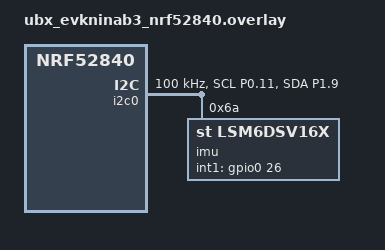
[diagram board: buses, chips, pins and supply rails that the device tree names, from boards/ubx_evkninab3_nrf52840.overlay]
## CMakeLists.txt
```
cmake_minimum_required(VERSION 3.20.0)

find_package(Zephyr REQUIRED HINTS $ENV{ZEPHYR_BASE})
project(magic_wand_nina_b302 LANGUAGES C)

target_sources(app PRIVATE
    src/main.c
    ../../src/mw_gesture.c
    ../../src/mw_gesture_event_v2.c
    ../../src/mw_target_math.c
)
target_include_directories(app PRIVATE ../../include)
target_compile_features(app PRIVATE c_std_11)
target_compile_options(app PRIVATE
    -Wall
    -Wextra
    -Werror
    -Wpedantic
    -Wconversion
    -Wshadow
)
```

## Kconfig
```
mainmenu "Magic Wand NINA-B302 target"

source "Kconfig.zephyr"

menu "Magic Wand target release gates"

config MW_AXIS_MAP_APPROVED
	bool "Enable drawing-derived sensor-to-wand axis map"
	default n
	help
	  Keep this disabled until a signed six-face accelerometer and positive-axis
	  gyroscope HIL record approves the mapping on assembled hardware. The target
	  intentionally refuses to classify gestures while this gate is disabled.

config MW_C08_005_ACTUATOR_APPROVED
	bool "Enable the C08-005 LRA candidate"
	default n
	help
	  Keep this disabled until the exact mounted C08-005 sample has passed
	  resonance, current, thermal, acoustic and mechanical-clearance validation.
	  Enabling the DRV2605 node without this gate produces a build-time failure.

endmenu
```

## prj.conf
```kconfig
# Target baseline: nRF Connect SDK v3.4.0 / Zephyr v4.4.0.
CONFIG_GPIO=y
CONFIG_I2C=y
CONFIG_SENSOR=y
CONFIG_LSM6DSV16X=y
CONFIG_LSM6DSV16X_TRIGGER_GLOBAL_THREAD=y
CONFIG_WATCHDOG=y
CONFIG_FPU=y

CONFIG_LOG=y
CONFIG_LOG_DEFAULT_LEVEL=3
CONFIG_CONSOLE=y
CONFIG_USE_SEGGER_RTT=y
CONFIG_RTT_CONSOLE=y
CONFIG_UART_CONSOLE=n
CONFIG_SERIAL=n

CONFIG_ASSERT=y
CONFIG_STACK_SENTINEL=y
CONFIG_MAIN_STACK_SIZE=4096
CONFIG_SYSTEM_WORKQUEUE_STACK_SIZE=2048

# Radio/security integration is intentionally outside this hardware target
# gate. The weak secure-event sink fails closed with -ENOTSUP.
CONFIG_BT=n
CONFIG_IEEE802154=n
CONFIG_USB_DEVICE_STACK=n
CONFIG_MCUMGR=n

# Release gates are fail-closed by default.
CONFIG_MW_AXIS_MAP_APPROVED=n
CONFIG_MW_C08_005_ACTUATOR_APPROVED=n
```

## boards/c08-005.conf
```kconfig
# Optional exact-actuator candidate. Use only with boards/c08-005.overlay.
CONFIG_HAPTICS=y
CONFIG_HAPTICS_DRV2605=y
CONFIG_MW_C08_005_ACTUATOR_APPROVED=y
```

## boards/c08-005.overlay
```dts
/*
 * Optional Precision Microdrives C08-005 LRA candidate.
 * The base target keeps the DRV2605 disabled. Pair this overlay with
 * c08-005.conf; main.c then enforces the approval and 1.85 V clamps at build
 * time. This is still not permission to manufacture without mounted-unit HIL.
 */
&haptic {
	status = "okay";
};
```

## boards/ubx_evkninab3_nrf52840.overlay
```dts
#include <zephyr/dt-bindings/gpio/gpio.h>
#include <zephyr/dt-bindings/i2c/i2c.h>
#include <zephyr/dt-bindings/pinctrl/nrf-pinctrl.h>
#include <zephyr/dt-bindings/sensor/lsm6dsv16x.h>

/*
 * The maintained EVK NINA-B3 board supplies the nRF52840/NINA-B302 clocks and
 * memory definition. Everything EVK-specific that conflicts with the custom
 * wand is disabled below before the factory-design pin authority is applied.
 */

/ {
	chosen {
		/delete-property/ zephyr,console;
		/delete-property/ zephyr,shell-uart;
		/delete-property/ zephyr,uart-mcumgr;
		/delete-property/ zephyr,bt-mon-uart;
		/delete-property/ zephyr,bt-c2h-uart;
		/delete-property/ zephyr,ieee802154;
	};

	aliases {
		mw-arm = &mw_arm_n;
		mw-chg-stat1 = &mw_chg_stat1_n;
		mw-chg-stat2 = &mw_chg_stat2_n;
		mw-imu = &imu;
		mw-haptic = &haptic;
	};

	mw-inputs {
		mw_arm_n: arm-n {
			gpios = <&gpio0 6 GPIO_ACTIVE_LOW>;
		};

		mw_chg_stat1_n: charge-status-1-n {
			gpios = <&gpio0 24 GPIO_ACTIVE_LOW>;
		};

		mw_chg_stat2_n: charge-status-2-n {
			gpios = <&gpio0 25 GPIO_ACTIVE_LOW>;
		};
	};
};

/* EVK-only LEDs/buttons claim wand P0.13 and P0.25. */
&led0 { status = "disabled"; };
&led1 { status = "disabled"; };
&led2 { status = "disabled"; };
&red_pwm_led { status = "disabled"; };
&green_pwm_led { status = "disabled"; };
&blue_pwm_led { status = "disabled"; };
&button0 { status = "disabled"; };
&button1 { status = "disabled"; };

&uart0 { status = "disabled"; };
&spi1 { status = "disabled"; };
&pwm0 { status = "disabled"; };
&adc { status = "disabled"; };
&ieee802154 { status = "disabled"; };
&usbd { status = "disabled"; };

&pinctrl {
	mw_i2c0_default: mw_i2c0_default {
		group1 {
			psels = <NRF_PSEL(TWIM_SCL, 0, 11)>,
				<NRF_PSEL(TWIM_SDA, 1, 9)>;
		};
	};

	mw_i2c0_sleep: mw_i2c0_sleep {
		group1 {
			psels = <NRF_PSEL(TWIM_SCL, 0, 11)>,
				<NRF_PSEL(TWIM_SDA, 1, 9)>;
			low-power-enable;
		};
	};
};

&i2c0 {
	compatible = "nordic,nrf-twim";
	status = "okay";
	clock-frequency = <I2C_BITRATE_STANDARD>;
	pinctrl-0 = <&mw_i2c0_default>;
	pinctrl-1 = <&mw_i2c0_sleep>;
	pinctrl-names = "default", "sleep";

	imu: lsm6dsv16x@6a {
		compatible = "st,lsm6dsv16x";
		reg = <0x6a>;
		status = "okay";
		int1-gpios = <&gpio0 26 GPIO_ACTIVE_HIGH>;
		drdy-pin = <1>;
		drdy-pulsed;
		accel-range = <LSM6DSV16X_DT_FS_4G>;
		gyro-range = <LSM6DSV16X_DT_FS_2000DPS>;
		accel-odr = <LSM6DSVXXX_DT_ODR_AT_240Hz>;
		gyro-odr = <LSM6DSVXXX_DT_ODR_AT_240Hz>;
	};

	haptic: drv2605@5a {
		compatible = "ti,drv2605";
		reg = <0x5a>;
		status = "disabled";
		actuator-mode = "LRA";
		vib-rated-mv = <1850>;
		vib-overdrive-mv = <1850>;
		en-gpios = <&gpio0 13 GPIO_ACTIVE_HIGH>;
	};
};
```

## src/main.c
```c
#include "mw_board_pins.h"
#include "mw_gesture.h"
#include "mw_gesture_event_v2.h"
#include "mw_target_math.h"

#include <errno.h>
#include <stdbool.h>
#include <stdint.h>

#include <zephyr/device.h>
#include <zephyr/devicetree.h>
#include <zephyr/drivers/gpio.h>
#include <zephyr/drivers/haptics.h>
#include <zephyr/drivers/haptics/drv2605.h>
#include <zephyr/drivers/sensor.h>
#include <zephyr/drivers/watchdog.h>
#include <zephyr/kernel.h>
#include <zephyr/logging/log.h>
#include <zephyr/sys/util.h>

LOG_MODULE_REGISTER(magic_wand_target, LOG_LEVEL_INF);

#define MW_GYRO_CALIBRATION_SAMPLES UINT16_C(480)
#define MW_WATCHDOG_TIMEOUT_MS UINT32_C(1000)

#define MW_ARM_NODE DT_ALIAS(mw_arm)
#define MW_CHG_STAT1_NODE DT_ALIAS(mw_chg_stat1)
#define MW_CHG_STAT2_NODE DT_ALIAS(mw_chg_stat2)
#define MW_IMU_NODE DT_ALIAS(mw_imu)
#define MW_HAPTIC_NODE DT_ALIAS(mw_haptic)

BUILD_ASSERT(DT_SAME_NODE(DT_GPIO_CTLR(MW_ARM_NODE, gpios), DT_NODELABEL(gpio0)));
BUILD_ASSERT(DT_GPIO_PIN(MW_ARM_NODE, gpios) == MW_ARM_N_GPIO_PIN);
BUILD_ASSERT(DT_SAME_NODE(DT_GPIO_CTLR(MW_CHG_STAT1_NODE, gpios), DT_NODELABEL(gpio0)));
BUILD_ASSERT(DT_GPIO_PIN(MW_CHG_STAT1_NODE, gpios) == MW_CHG_STAT1_N_GPIO_PIN);
BUILD_ASSERT(DT_SAME_NODE(DT_GPIO_CTLR(MW_CHG_STAT2_NODE, gpios), DT_NODELABEL(gpio0)));
BUILD_ASSERT(DT_GPIO_PIN(MW_CHG_STAT2_NODE, gpios) == MW_CHG_STAT2_N_GPIO_PIN);
BUILD_ASSERT(DT_SAME_NODE(DT_GPIO_CTLR(MW_IMU_NODE, int1_gpios), DT_NODELABEL(gpio0)));
BUILD_ASSERT(DT_GPIO_PIN(MW_IMU_NODE, int1_gpios) == MW_IMU_INT1_GPIO_PIN);

static const struct gpio_dt_spec arm_input = GPIO_DT_SPEC_GET(MW_ARM_NODE, gpios);
static const struct gpio_dt_spec chg_stat1_input = GPIO_DT_SPEC_GET(MW_CHG_STAT1_NODE, gpios);
static const struct gpio_dt_spec chg_stat2_input = GPIO_DT_SPEC_GET(MW_CHG_STAT2_NODE, gpios);
static const struct device *const imu = DEVICE_DT_GET(MW_IMU_NODE);
static const struct device *const watchdog = DEVICE_DT_GET(DT_ALIAS(watchdog0));

K_SEM_DEFINE(imu_data_ready, 0, 1);

/*
 * A security/radio integration must provide a strong implementation that
 * queues exactly this versioned event inside the authenticated protocol path.
 * The hardware target deliberately has no raw BLE/802.15.4 fallback.
 */
__weak int mw_target_get_authenticated_identity(
    uint32_t *device_id,
    uint32_t *session_id,
    uint8_t *logical_channel)
{
    if (device_id != NULL) {
        *device_id = 0U;
    }
    if (session_id != NULL) {
        *session_id = 0U;
    }
    if (logical_channel != NULL) {
        *logical_channel = MW_LOGICAL_CHANNEL_COUNT;
    }
    return -ENOTSUP;
}

__weak int mw_target_read_battery_percent(uint8_t *battery_percent)
{
    if (battery_percent != NULL) {
        *battery_percent = MW_BATTERY_PERCENT_UNKNOWN;
    }
    return -ENOTSUP;
}

__weak int mw_target_secure_queue_gesture_event_v2(
    const uint8_t payload[MW_GESTURE_EVENT_V2_BYTES])
{
    ARG_UNUSED(payload);
    return -ENOTSUP;
}

static void imu_trigger_handler(
    const struct device *device,
    const struct sensor_trigger *trigger)
{
    ARG_UNUSED(device);
    ARG_UNUSED(trigger);
    k_sem_give(&imu_data_ready);
}

static int configure_input(const struct gpio_dt_spec *input)
{
    if (!gpio_is_ready_dt(input)) {
        return -ENODEV;
    }
    return gpio_pin_configure_dt(input, GPIO_INPUT);
}

static int read_input(const struct gpio_dt_spec *input, bool *active)
{
    const int value = gpio_pin_get_dt(input);

    if (value < 0) {
        return value;
    }
    *active = value != 0;
    return 0;
}

static int configure_watchdog(void)
{
    const struct wdt_timeout_cfg timeout = {
        .window = {
            .min = 0U,
            .max = MW_WATCHDOG_TIMEOUT_MS,
        },
        .callback = NULL,
        .flags = WDT_FLAG_RESET_SOC,
    };
    int channel;
    int result;

    if (!device_is_ready(watchdog)) {
        return -ENODEV;
    }
    channel = wdt_install_timeout(watchdog, &timeout);
    if (channel < 0) {
        return channel;
    }
    result = wdt_setup(watchdog, WDT_OPT_PAUSE_HALTED_BY_DBG);
    if (result < 0) {
        return result;
    }
    return channel;
}

static int fetch_imu(float accel_mps2[3], float gyro_rad_s[3])
{
    struct sensor_value accel[3];
    struct sensor_value gyro[3];
    size_t axis;
    int result;

    result = sensor_sample_fetch(imu);
    if (result < 0) {
        return result;
    }
    result = sensor_channel_get(imu, SENSOR_CHAN_ACCEL_XYZ, accel);
    if (result < 0) {
        return result;
    }
    result = sensor_channel_get(imu, SENSOR_CHAN_GYRO_XYZ, gyro);
    if (result < 0) {
        return result;
    }
    for (axis = 0U; axis < 3U; ++axis) {
        accel_mps2[axis] = (float)sensor_value_to_double(&accel[axis]);
        gyro_rad_s[axis] = (float)sensor_value_to_double(&gyro[axis]);
    }
    return 0;
}

static bool stationary_for_gyro_calibration(
    const float accel_mps2[3],
    const float gyro_rad_s[3])
{
    const float gravity_squared =
        MW_STANDARD_GRAVITY_MPS2 * MW_STANDARD_GRAVITY_MPS2;
    const float accel_squared =
        (accel_mps2[0] * accel_mps2[0]) +
        (accel_mps2[1] * accel_mps2[1]) +
        (accel_mps2[2] * accel_mps2[2]);
    const float gyro_l1 =
        ((gyro_rad_s[0] < 0.0F) ? -gyro_rad_s[0] : gyro_rad_s[0]) +
        ((gyro_rad_s[1] < 0.0F) ? -gyro_rad_s[1] : gyro_rad_s[1]) +
        ((gyro_rad_s[2] < 0.0F) ? -gyro_rad_s[2] : gyro_rad_s[2]);

    return (accel_squared > (0.64F * gravity_squared)) &&
        (accel_squared < (1.44F * gravity_squared)) &&
        (gyro_l1 < 0.35F);
}

static int play_haptic(mw_gesture_id_t gesture)
{
#if DT_NODE_HAS_STATUS(MW_HAPTIC_NODE, okay)
    static const uint8_t effect_by_gesture[] = {
        0U, 1U, 2U, 3U, 4U, 5U, 6U, 7U, 8U,
    };
    const struct device *const haptic = DEVICE_DT_GET(MW_HAPTIC_NODE);
    struct drv2605_rom_data rom = {0};
    const union drv2605_config_data config = {.rom_data = &rom};
    int result;

    BUILD_ASSERT(IS_ENABLED(CONFIG_MW_C08_005_ACTUATOR_APPROVED));
    BUILD_ASSERT(DT_PROP(MW_HAPTIC_NODE, vib_rated_mv) == 1850);
    BUILD_ASSERT(DT_PROP(MW_HAPTIC_NODE, vib_overdrive_mv) == 1850);

    if (!device_is_ready(haptic) ||
        (gesture <= MW_GESTURE_NONE) ||
        ((size_t)gesture >= ARRAY_SIZE(effect_by_gesture))) {
        return -ENODEV;
    }
    rom.trigger = DRV2605_MODE_INTERNAL_TRIGGER;
    rom.library = DRV2605_LIBRARY_LRA;
    rom.seq_regs[0] = effect_by_gesture[(size_t)gesture];
    result = drv2605_haptic_config(
        haptic, DRV2605_HAPTICS_SOURCE_ROM, &config);
    if (result < 0) {
        return result;
    }
    return haptics_start_output(haptic);
#else
    ARG_UNUSED(gesture);
    return -ENODEV;
#endif
}

int main(void)
{
    const struct sensor_trigger trigger = {
        .type = SENSOR_TRIG_DATA_READY,
        .chan = SENSOR_CHAN_ACCEL_XYZ,
    };
    mw_target_calibration_t calibration = {0};
    mw_gesture_stream_t stream;
    float gyro_bias_sum[3] = {0.0F, 0.0F, 0.0F};
    uint16_t calibration_count = 0U;
    uint32_t previous_sample_ms = 0U;
    bool axis_gate_reported = false;
    bool previous_stat1 = false;
    bool previous_stat2 = false;
    bool have_charge_state = false;
    int watchdog_channel;
    int result;

    calibration.sensor_to_wand = MW_SENSOR_TO_WAND_DRAWING_CANDIDATE;
    calibration.axis_map_approved = IS_ENABLED(CONFIG_MW_AXIS_MAP_APPROVED);
    mw_gesture_stream_init(&stream);

    result = configure_input(&arm_input);
    result = (result < 0) ? result : configure_input(&chg_stat1_input);
    result = (result < 0) ? result : configure_input(&chg_stat2_input);
    if (result < 0 || !device_is_ready(imu)) {
        LOG_ERR("GPIO/IMU target binding is not ready (%d)", result);
        return -ENODEV;
    }

    watchdog_channel = configure_watchdog();
    if (watchdog_channel < 0) {
        LOG_ERR("watchdog setup failed (%d)", watchdog_channel);
        return watchdog_channel;
    }
    result = sensor_trigger_set(imu, &trigger, imu_trigger_handler);
    if (result < 0) {
        LOG_ERR("IMU data-ready trigger setup failed (%d)", result);
        return result;
    }

    LOG_INF("target ready; secure sink, axis map, and actuator gates fail closed");
    for (;;) {
        float accel_mps2[3];
        float gyro_rad_s[3];
        mw_imu_sample_t sample;
        mw_gesture_result_t gesture;
        bool arm_active;
        bool stat1_active;
        bool stat2_active;
        uint32_t now_ms;
        uint32_t elapsed_ms;
        mw_gesture_event_v2_t event = {0};
        uint8_t payload[MW_GESTURE_EVENT_V2_BYTES];
        size_t axis;

        result = k_sem_take(&imu_data_ready, K_MSEC(100));
        (void)wdt_feed(watchdog, watchdog_channel);
        if (result < 0) {
            mw_gesture_stream_init(&stream);
            previous_sample_ms = 0U;
            LOG_WRN("IMU data-ready timeout");
            continue;
        }
        if (fetch_imu(accel_mps2, gyro_rad_s) < 0 ||
            read_input(&arm_input, &arm_active) < 0 ||
            read_input(&chg_stat1_input, &stat1_active) < 0 ||
            read_input(&chg_stat2_input, &stat2_active) < 0) {
            mw_gesture_stream_init(&stream);
            previous_sample_ms = 0U;
            LOG_ERR("sensor/input sample failed");
            continue;
        }

        if (!have_charge_state ||
            stat1_active != previous_stat1 || stat2_active != previous_stat2) {
            /* Raw active-low status only; no undocumented charger-state guess. */
            LOG_INF("charger STAT1_N asserted=%d STAT2_N asserted=%d",
                stat1_active, stat2_active);
            previous_stat1 = stat1_active;
            previous_stat2 = stat2_active;
            have_charge_state = true;
        }

        if (calibration_count < MW_GYRO_CALIBRATION_SAMPLES) {
            if (arm_active ||
                !stationary_for_gyro_calibration(accel_mps2, gyro_rad_s)) {
                calibration_count = 0U;
                gyro_bias_sum[0] = 0.0F;
                gyro_bias_sum[1] = 0.0F;
                gyro_bias_sum[2] = 0.0F;
                continue;
            }
            for (axis = 0U; axis < 3U; ++axis) {
                gyro_bias_sum[axis] += gyro_rad_s[axis];
            }
            calibration_count++;
            if (calibration_count == MW_GYRO_CALIBRATION_SAMPLES) {
                for (axis = 0U; axis < 3U; ++axis) {
                    calibration.gyro_bias_rad_s[axis] =
                        gyro_bias_sum[axis] /
                        (float)MW_GYRO_CALIBRATION_SAMPLES;
                }
                LOG_INF("stationary gyro bias captured; axis HIL gate=%d",
                    calibration.axis_map_approved);
            }
            continue;
        }

        if (!arm_active) {
            mw_gesture_stream_init(&stream);
            previous_sample_ms = 0U;
            continue;
        }
        if (!calibration.axis_map_approved) {
            if (!axis_gate_reported) {
                LOG_ERR("axis map is unapproved; gesture classification disabled");
                axis_gate_reported = true;
            }
            mw_gesture_stream_init(&stream);
            continue;
        }

        now_ms = k_uptime_get_32();
        if (previous_sample_ms == 0U) {
            previous_sample_ms = now_ms;
            continue;
        }
        elapsed_ms = now_ms - previous_sample_ms;
        previous_sample_ms = now_ms;
        if (elapsed_ms > UINT16_MAX ||
            !mw_target_make_gesture_sample(
                accel_mps2,
                gyro_rad_s,
                (uint16_t)elapsed_ms,
                &calibration,
                &sample)) {
            mw_gesture_stream_init(&stream);
            continue;
        }

        if (!mw_gesture_stream_push(
                &stream, &sample, true, now_ms, &gesture)) {
            continue;
        }
        event.gesture_id = gesture.id;
        event.confidence_percent = gesture.confidence_percent;
        event.battery_percent = MW_BATTERY_PERCENT_UNKNOWN;
        event.status_flags = MW_EVENT_STATUS_ARM_ACTIVE;
        if (stat1_active) {
            event.status_flags |= MW_EVENT_STATUS_CHG_STAT1_ASSERTED;
        }
        if (stat2_active) {
            event.status_flags |= MW_EVENT_STATUS_CHG_STAT2_ASSERTED;
        }
        result = mw_target_get_authenticated_identity(
            &event.device_id, &event.session_id, &event.logical_channel);
        if (result < 0) {
            LOG_WRN("authenticated identity unavailable (%d)", result);
            continue;
        }
        result = mw_target_read_battery_percent(&event.battery_percent);
        if (result == 0 && event.battery_percent <= UINT8_C(100)) {
            event.status_flags |= MW_EVENT_STATUS_BATTERY_KNOWN;
        } else {
            event.battery_percent = MW_BATTERY_PERCENT_UNKNOWN;
        }
        if (!mw_gesture_event_v2_encode(&event, payload)) {
            LOG_ERR("V2 event metadata rejected");
            continue;
        }
        result = mw_target_secure_queue_gesture_event_v2(payload);
        if (result == 0) {
            const int haptic_result = play_haptic(gesture.id);
            if (haptic_result < 0 && haptic_result != -ENODEV) {
                LOG_WRN("local haptic feedback failed (%d)", haptic_result);
            }
        } else {
            LOG_WRN("secure gesture sink rejected event (%d)", result);
        }
    }
}
```

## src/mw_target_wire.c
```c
#include "mw_target_wire.h"

#include <string.h>

static void put_u32_be(uint8_t *output, uint32_t value)
{
    output[0] = (uint8_t)(value >> 24U);
    output[1] = (uint8_t)(value >> 16U);
    output[2] = (uint8_t)(value >> 8U);
    output[3] = (uint8_t)value;
}

static uint16_t get_u16_be(const uint8_t *input)
{
    return (uint16_t)(((uint16_t)input[0] << 8U) | (uint16_t)input[1]);
}

static uint32_t get_u32_be(const uint8_t *input)
{
    return ((uint32_t)input[0] << 24U) |
        ((uint32_t)input[1] << 16U) |
        ((uint32_t)input[2] << 8U) |
        (uint32_t)input[3];
}

static bool valid_profile_and_channel(
    mw_gesture_payload_profile_t profile,
    uint8_t logical_channel)
{
    return (profile == MW_GESTURE_PAYLOAD_PROFILE_MULTICHANNEL_V2) &&
        (logical_channel < MW_LOGICAL_CHANNEL_COUNT);
}

static bool valid_wire_header(const mw_frame_header_t *header)
{
    return (header != NULL) &&
        (header->version == MW_PROTOCOL_VERSION) &&
        ((header->direction == (uint8_t)MW_DIRECTION_WAND_TO_RECEIVER) ||
         (header->direction == (uint8_t)MW_DIRECTION_RECEIVER_TO_WAND)) &&
        (header->flags == UINT8_C(0)) &&
        (header->device_id != UINT32_C(0)) &&
        (header->session_id != UINT32_C(0)) &&
        (header->sequence != UINT32_C(0)) &&
        (header->sequence != UINT32_MAX) &&
        ((size_t)header->payload_length <= MW_MAX_PAYLOAD_BYTES);
}

static size_t frame_wire_length(uint16_t payload_length)
{
    return MW_AAD_BYTES + (size_t)payload_length + MW_TAG_BYTES;
}

static bool valid_wand_tx_command_and_length(
    const mw_frame_header_t *header)
{
    switch ((mw_command_t)header->command) {
    case MW_CMD_DISARM:
    case MW_CMD_HEARTBEAT:
    case MW_CMD_ARM_LEASE:
        return header->payload_length == UINT16_C(0);
    case MW_CMD_GESTURE_EVENT:
        return header->payload_length ==
            (uint16_t)MW_GESTURE_EVENT_V2_BYTES;
    case MW_CMD_SET_AUX:
    case MW_CMD_PULSE_ISOLATED_OC:
    case MW_CMD_PULSE_LOW_SIDE:
    case MW_CMD_FEEDBACK:
    default:
        return false;
    }
}

void mw_target_session_gate_init(
    mw_target_session_gate_t *gate,
    uint32_t persisted_session_id)
{
    if (gate == NULL) {
        return;
    }
    (void)memset(gate, 0, sizeof(*gate));
    gate->persisted_session_id = persisted_session_id;
    gate->gesture_profile = MW_GESTURE_PAYLOAD_PROFILE_UNSUPPORTED;
}

bool mw_target_session_gate_activate(
    mw_target_session_gate_t *gate,
    uint32_t wand_device_id,
    uint32_t receiver_device_id,
    uint32_t session_id,
    uint8_t logical_channel,
    mw_gesture_payload_profile_t gesture_profile,
    bool secure_link_level4,
    bool secure_connections,
    bool oob_authenticated,
    bool application_handshake_authenticated,
    bool direction_key_ready)
{
    if ((gate == NULL) || gate->active ||
        (wand_device_id == UINT32_C(0)) ||
        (receiver_device_id == UINT32_C(0)) ||
        (wand_device_id == receiver_device_id) ||
        (session_id == UINT32_C(0)) ||
        (session_id <= gate->persisted_session_id) ||
        !valid_profile_and_channel(gesture_profile, logical_channel) ||
        !secure_link_level4 || !secure_connections || !oob_authenticated ||
        !application_handshake_authenticated || !direction_key_ready) {
        return false;
    }

    gate->wand_device_id = wand_device_id;
    gate->receiver_device_id = receiver_device_id;
    gate->session_id = session_id;
    gate->persisted_session_id = session_id;
    gate->sequence_high_water = UINT32_C(0);
    gate->logical_channel = logical_channel;
    gate->gesture_profile = gesture_profile;
    gate->active = true;
    return true;
}

void mw_target_session_gate_close(mw_target_session_gate_t *gate)
{
    uint32_t persisted_session_id;

    if (gate == NULL) {
        return;
    }
    persisted_session_id = gate->persisted_session_id;
    (void)memset(gate, 0, sizeof(*gate));
    gate->persisted_session_id = persisted_session_id;
    gate->gesture_profile = MW_GESTURE_PAYLOAD_PROFILE_UNSUPPORTED;
}

bool mw_target_session_identity(
    const mw_target_session_gate_t *gate,
    uint32_t *wand_device_id,
    uint32_t *session_id,
    uint8_t *logical_channel)
{
    if ((gate == NULL) || !gate->active ||
        (gate->gesture_profile !=
         MW_GESTURE_PAYLOAD_PROFILE_MULTICHANNEL_V2) ||
        (wand_device_id == NULL) || (session_id == NULL) ||
        (logical_channel == NULL)) {
        return false;
    }
    *wand_device_id = gate->wand_device_id;
    *session_id = gate->session_id;
    *logical_channel = gate->logical_channel;
    return true;
}

bool mw_target_session_reserve_tx(
    mw_target_session_gate_t *gate,
    const mw_frame_header_t *header)
{
    if ((gate == NULL) || !gate->active ||
        (gate->gesture_profile !=
         MW_GESTURE_PAYLOAD_PROFILE_MULTICHANNEL_V2) ||
        !valid_wire_header(header) ||
        (header->direction !=
         (uint8_t)MW_DIRECTION_WAND_TO_RECEIVER) ||
        (header->device_id != gate->wand_device_id) ||
        (header->session_id != gate->session_id) ||
        !valid_wand_tx_command_and_length(header) ||
        (gate->sequence_high_water >=
         (UINT32_MAX - UINT32_C(1))) ||
        (header->sequence !=
         (gate->sequence_high_water + UINT32_C(1)))) {
        return false;
    }

    gate->sequence_high_water = header->sequence;
    return true;
}

bool mw_target_session_reserve_v2_tx(
    mw_target_session_gate_t *gate,
    const mw_frame_header_t *header,
    const uint8_t payload[MW_GESTURE_EVENT_V2_BYTES])
{
    mw_gesture_event_v2_t event;

    if ((gate == NULL) || (header == NULL) || (payload == NULL) ||
        !mw_gesture_event_v2_decode(payload, &event) ||
        (event.device_id != gate->wand_device_id) ||
        (event.session_id != gate->session_id) ||
        (event.device_id != header->device_id) ||
        (event.session_id != header->session_id) ||
        (event.logical_channel != gate->logical_channel) ||
        ((event.status_flags & MW_EVENT_STATUS_ARM_ACTIVE) == 0U)) {
        return false;
    }
    return mw_target_session_reserve_tx(gate, header);
}

bool mw_target_session_validate_v2_rx(
    const mw_target_session_gate_t *gate,
    const mw_frame_header_t *header,
    const uint8_t payload[MW_GESTURE_EVENT_V2_BYTES])
{
    mw_gesture_event_v2_t event;

    return (gate != NULL) && gate->active && (header != NULL) &&
        (payload != NULL) &&
        (gate->gesture_profile ==
         MW_GESTURE_PAYLOAD_PROFILE_MULTICHANNEL_V2) &&
        (header->version == MW_PROTOCOL_VERSION) &&
        (header->direction == (uint8_t)MW_DIRECTION_WAND_TO_RECEIVER) &&
        (header->command == (uint8_t)MW_CMD_GESTURE_EVENT) &&
        (header->flags == UINT8_C(0)) &&
        (header->device_id == gate->wand_device_id) &&
        (header->session_id == gate->session_id) &&
        (header->payload_length == (uint16_t)MW_GESTURE_EVENT_V2_BYTES) &&
        mw_gesture_event_v2_decode(payload, &event) &&
        (event.device_id == header->device_id) &&
        (event.session_id == header->session_id) &&
        (event.logical_channel == gate->logical_channel) &&
        ((event.status_flags & MW_EVENT_STATUS_ARM_ACTIVE) != 0U);
}

bool mw_target_handshake_encode_prefix(
    const mw_target_handshake_t *handshake,
    uint8_t prefix_out[MW_TARGET_HANDSHAKE_PREFIX_BYTES])
{
    if (prefix_out != NULL) {
        (void)memset(prefix_out, 0, MW_TARGET_HANDSHAKE_PREFIX_BYTES);
    }
    if ((handshake == NULL) || (prefix_out == NULL) ||
        ((handshake->message_type != MW_TARGET_HANDSHAKE_OPEN) &&
         (handshake->message_type != MW_TARGET_HANDSHAKE_ACK)) ||
        !valid_profile_and_channel(
            (mw_gesture_payload_profile_t)handshake->gesture_profile,
            handshake->logical_channel) ||
        (handshake->wand_device_id == UINT32_C(0)) ||
        (handshake->receiver_device_id == UINT32_C(0)) ||
        (handshake->wand_device_id == handshake->receiver_device_id) ||
        (handshake->session_id == UINT32_C(0))) {
        return false;
    }

    prefix_out[0] = MW_TARGET_HANDSHAKE_SCHEMA;
    prefix_out[1] = handshake->message_type;
    prefix_out[2] = handshake->gesture_profile;
    prefix_out[3] = handshake->logical_channel;
    put_u32_be(&prefix_out[4], handshake->wand_device_id);
    put_u32_be(&prefix_out[8], handshake->receiver_device_id);
    put_u32_be(&prefix_out[12], handshake->session_id);
    put_u32_be(&prefix_out[16], handshake->clock_ms);
    return true;
}

bool mw_target_handshake_decode_prefix(
    const uint8_t prefix[MW_TARGET_HANDSHAKE_PREFIX_BYTES],
    mw_target_handshake_t *handshake_out)
{
    mw_target_handshake_t candidate;

    if (handshake_out != NULL) {
        (void)memset(handshake_out, 0, sizeof(*handshake_out));
    }
    if ((prefix == NULL) || (handshake_out == NULL) ||
        (prefix[0] != MW_TARGET_HANDSHAKE_SCHEMA)) {
        return false;
    }

    candidate.message_type = prefix[1];
    candidate.gesture_profile = prefix[2];
    candidate.logical_channel = prefix[3];
    candidate.wand_device_id = get_u32_be(&prefix[4]);
    candidate.receiver_device_id = get_u32_be(&prefix[8]);
    candidate.session_id = get_u32_be(&prefix[12]);
    candidate.clock_ms = get_u32_be(&prefix[16]);
    if (!mw_target_handshake_encode_prefix(
            &candidate,
            (uint8_t[MW_TARGET_HANDSHAKE_PREFIX_BYTES]){0})) {
        return false;
    }
    *handshake_out = candidate;
    return true;
}

bool mw_target_frame_serialize(
    const mw_encrypted_frame_t *frame,
    uint8_t wire_out[MW_TARGET_ENCRYPTED_FRAME_MAX_BYTES],
    size_t *wire_length_out)
{
    size_t aad_length;
    size_t payload_length;
    size_t wire_length;

    if (wire_out != NULL) {
        (void)memset(wire_out, 0, MW_TARGET_ENCRYPTED_FRAME_MAX_BYTES);
    }
    if (wire_length_out != NULL) {
        *wire_length_out = 0U;
    }
    if ((frame == NULL) || (wire_out == NULL) ||
        (wire_length_out == NULL) || !valid_wire_header(&frame->header)) {
        return false;
    }

    payload_length = (size_t)frame->header.payload_length;
    wire_length = frame_wire_length(frame->header.payload_length);
    aad_length = mw_protocol_encode_aad(&frame->header, wire_out);
    if (aad_length != MW_AAD_BYTES) {
        (void)memset(wire_out, 0, MW_TARGET_ENCRYPTED_FRAME_MAX_BYTES);
        return false;
    }
    (void)memcpy(&wire_out[MW_AAD_BYTES], frame->ciphertext,
                 payload_length);
    (void)memcpy(&wire_out[MW_AAD_BYTES + payload_length],
                 frame->tag, MW_TAG_BYTES);
    *wire_length_out = wire_length;
    return true;
}

bool mw_target_frame_parse(
    const uint8_t *wire,
    size_t wire_length,
    mw_encrypted_frame_t *frame_out)
{
    mw_encrypted_frame_t candidate;
    size_t payload_length;

    if (frame_out != NULL) {
        (void)memset(frame_out, 0, sizeof(*frame_out));
    }
    if ((wire == NULL) || (frame_out == NULL) ||
        (wire_length < MW_TARGET_ENCRYPTED_FRAME_MIN_BYTES) ||
        (wire_length > MW_TARGET_ENCRYPTED_FRAME_MAX_BYTES)) {
        return false;
    }

    (void)memset(&candidate, 0, sizeof(candidate));
    candidate.header.version = wire[0];
    candidate.header.direction = wire[1];
    candidate.header.command = wire[2];
    candidate.header.flags = wire[3];
    candidate.header.device_id = get_u32_be(&wire[4]);
    candidate.header.session_id = get_u32_be(&wire[8]);
    candidate.header.sequence = get_u32_be(&wire[12]);
    candidate.header.issued_ms = get_u32_be(&wire[16]);
    candidate.header.payload_length = get_u16_be(&wire[20]);
    if (!valid_wire_header(&candidate.header) ||
        (wire_length != frame_wire_length(candidate.header.payload_length))) {
        return false;
    }
    payload_length = (size_t)candidate.header.payload_length;
    (void)memcpy(candidate.ciphertext, &wire[MW_AAD_BYTES],
                 payload_length);
    (void)memcpy(candidate.tag,
                 &wire[MW_AAD_BYTES + payload_length],
                 MW_TAG_BYTES);
    *frame_out = candidate;
    return true;
}

bool mw_target_encrypted_frame_serialize(
    const mw_encrypted_frame_t *frame,
    uint8_t wire_out[MW_TARGET_ENCRYPTED_GESTURE_BYTES])
{
    uint8_t generic_wire[MW_TARGET_ENCRYPTED_FRAME_MAX_BYTES];
    size_t wire_length = 0U;

    if (wire_out != NULL) {
        (void)memset(wire_out, 0, MW_TARGET_ENCRYPTED_GESTURE_BYTES);
    }
    if ((frame == NULL) || (wire_out == NULL) ||
        (frame->header.direction !=
         (uint8_t)MW_DIRECTION_WAND_TO_RECEIVER) ||
        (frame->header.command != (uint8_t)MW_CMD_GESTURE_EVENT) ||
        (frame->header.payload_length !=
         (uint16_t)MW_GESTURE_EVENT_V2_BYTES) ||
        !mw_target_frame_serialize(frame, generic_wire, &wire_length) ||
        (wire_length != MW_TARGET_ENCRYPTED_GESTURE_BYTES)) {
        return false;
    }
    (void)memcpy(wire_out, generic_wire, MW_TARGET_ENCRYPTED_GESTURE_BYTES);
    return true;
}

bool mw_target_encrypted_frame_parse(
    const uint8_t *wire,
    size_t wire_length,
    mw_encrypted_frame_t *frame_out)
{
    mw_encrypted_frame_t candidate;

    if (frame_out != NULL) {
        (void)memset(frame_out, 0, sizeof(*frame_out));
    }
    if ((wire == NULL) || (frame_out == NULL) ||
        (wire_length != MW_TARGET_ENCRYPTED_GESTURE_BYTES) ||
        !mw_target_frame_parse(wire, wire_length, &candidate) ||
        (candidate.header.direction !=
         (uint8_t)MW_DIRECTION_WAND_TO_RECEIVER) ||
        (candidate.header.command != (uint8_t)MW_CMD_GESTURE_EVENT) ||
        (candidate.header.payload_length !=
         (uint16_t)MW_GESTURE_EVENT_V2_BYTES)) {
        return false;
    }
    *frame_out = candidate;
    return true;
}
```

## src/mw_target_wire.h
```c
#ifndef MW_TARGET_WIRE_H
#define MW_TARGET_WIRE_H

#include "mw_gesture_event_v2.h"
#include "mw_protocol.h"

#include <stdbool.h>
#include <stddef.h>
#include <stdint.h>

#ifdef __cplusplus
extern "C" {
#endif

#define MW_TARGET_HANDSHAKE_SCHEMA UINT8_C(1)
#define MW_TARGET_HANDSHAKE_OPEN UINT8_C(1)
#define MW_TARGET_HANDSHAKE_ACK UINT8_C(2)
#define MW_TARGET_HANDSHAKE_PREFIX_BYTES ((size_t)20)
#define MW_TARGET_HANDSHAKE_TAG_BYTES ((size_t)16)
#define MW_TARGET_HANDSHAKE_BYTES \
    (MW_TARGET_HANDSHAKE_PREFIX_BYTES + MW_TARGET_HANDSHAKE_TAG_BYTES)
#define MW_TARGET_ENCRYPTED_FRAME_MIN_BYTES \
    (MW_AAD_BYTES + MW_TAG_BYTES)
#define MW_TARGET_ENCRYPTED_FRAME_MAX_BYTES \
    (MW_AAD_BYTES + MW_MAX_PAYLOAD_BYTES + MW_TAG_BYTES)
#define MW_TARGET_ATT_MTU_MIN_BYTES \
    (MW_TARGET_ENCRYPTED_FRAME_MAX_BYTES + (size_t)3)
#define MW_TARGET_ENCRYPTED_GESTURE_BYTES \
    (MW_AAD_BYTES + MW_GESTURE_EVENT_V2_BYTES + MW_TAG_BYTES)

typedef struct {
    uint8_t message_type;
    uint8_t gesture_profile;
    uint8_t logical_channel;
    uint32_t wand_device_id;
    uint32_t receiver_device_id;
    uint32_t session_id;
    uint32_t clock_ms;
} mw_target_handshake_t;

typedef struct {
    uint32_t wand_device_id;
    uint32_t receiver_device_id;
    uint32_t session_id;
    uint32_t persisted_session_id;
    uint32_t sequence_high_water;
    uint8_t logical_channel;
    mw_gesture_payload_profile_t gesture_profile;
    bool active;
} mw_target_session_gate_t;

void mw_target_session_gate_init(
    mw_target_session_gate_t *gate,
    uint32_t persisted_session_id);

bool mw_target_session_gate_activate(
    mw_target_session_gate_t *gate,
    uint32_t wand_device_id,
    uint32_t receiver_device_id,
    uint32_t session_id,
    uint8_t logical_channel,
    mw_gesture_payload_profile_t gesture_profile,
    bool secure_link_level4,
    bool secure_connections,
    bool oob_authenticated,
    bool application_handshake_authenticated,
    bool direction_key_ready);

void mw_target_session_gate_close(mw_target_session_gate_t *gate);

bool mw_target_session_identity(
    const mw_target_session_gate_t *gate,
    uint32_t *wand_device_id,
    uint32_t *session_id,
    uint8_t *logical_channel);

/*
 * Reserve a nonce/sequence before encryption. Success advances the in-memory
 * high-water mark and must never be rolled back, even if the subsequent GATT
 * write fails. This prevents a changed plaintext from reusing a CCM nonce.
 * The target adapter may use this low-level function for authenticated control
 * frames. GESTURE_EVENT callers must use the V2 wrapper below so plaintext
 * binding and ARM_ACTIVE are checked before the sequence is consumed.
 */
bool mw_target_session_reserve_tx(
    mw_target_session_gate_t *gate,
    const mw_frame_header_t *header);

bool mw_target_session_reserve_v2_tx(
    mw_target_session_gate_t *gate,
    const mw_frame_header_t *header,
    const uint8_t payload[MW_GESTURE_EVENT_V2_BYTES]);

/* Validate decrypted receiver binding without changing portable replay state. */
bool mw_target_session_validate_v2_rx(
    const mw_target_session_gate_t *gate,
    const mw_frame_header_t *header,
    const uint8_t payload[MW_GESTURE_EVENT_V2_BYTES]);

bool mw_target_handshake_encode_prefix(
    const mw_target_handshake_t *handshake,
    uint8_t prefix_out[MW_TARGET_HANDSHAKE_PREFIX_BYTES]);

bool mw_target_handshake_decode_prefix(
    const uint8_t prefix[MW_TARGET_HANDSHAKE_PREFIX_BYTES],
    mw_target_handshake_t *handshake_out);

bool mw_target_frame_serialize(
    const mw_encrypted_frame_t *frame,
    uint8_t wire_out[MW_TARGET_ENCRYPTED_FRAME_MAX_BYTES],
    size_t *wire_length_out);

bool mw_target_frame_parse(
    const uint8_t *wire,
    size_t wire_length,
    mw_encrypted_frame_t *frame_out);

/* Exact-52-byte V2 GESTURE_EVENT compatibility wrappers. */
bool mw_target_encrypted_frame_serialize(
    const mw_encrypted_frame_t *frame,
    uint8_t wire_out[MW_TARGET_ENCRYPTED_GESTURE_BYTES]);

bool mw_target_encrypted_frame_parse(
    const uint8_t *wire,
    size_t wire_length,
    mw_encrypted_frame_t *frame_out);

#ifdef __cplusplus
}
#endif

#endif
```
